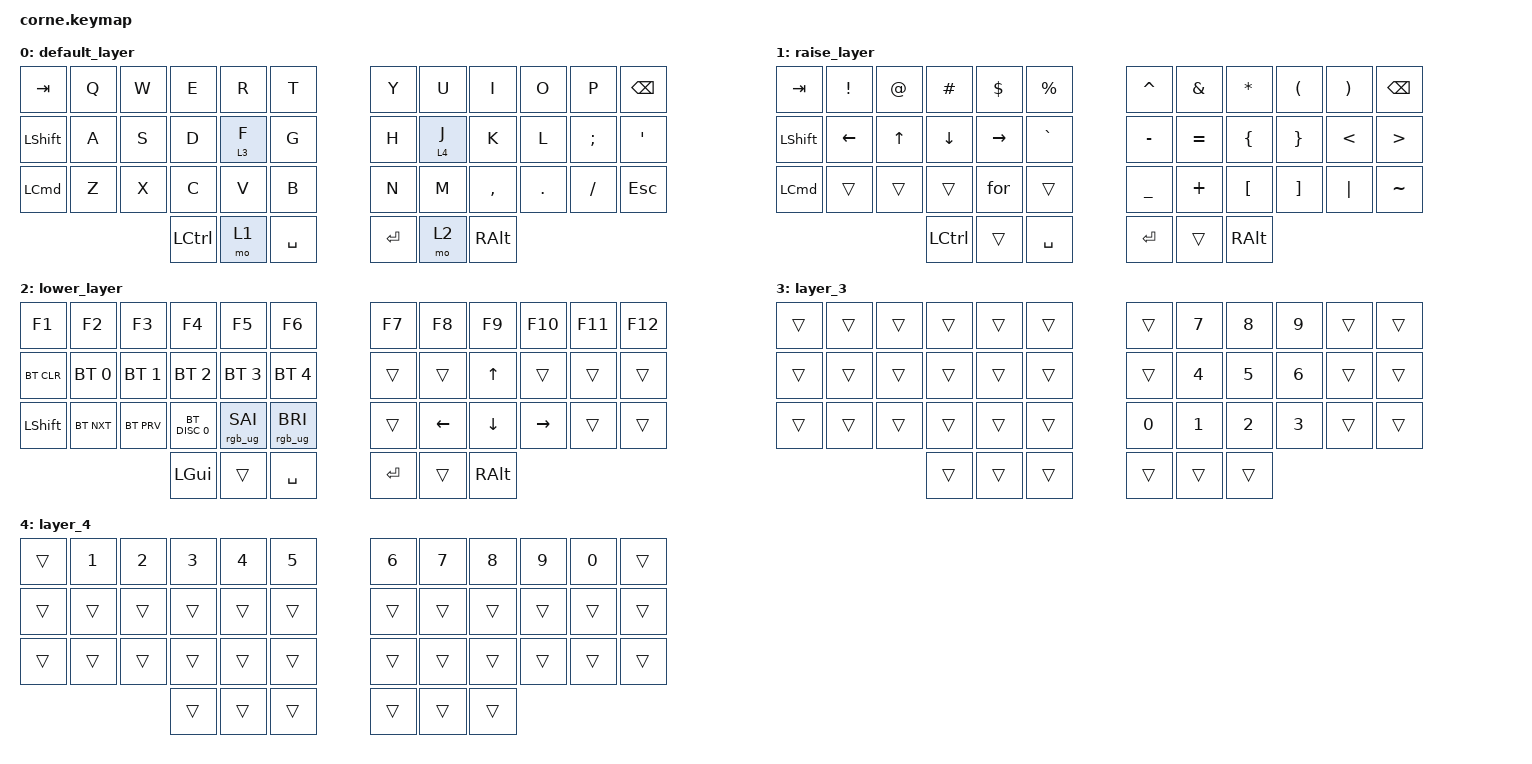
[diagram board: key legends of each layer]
/*
 * Copyright (c) 2020 The ZMK Contributors
 *
 * SPDX-License-Identifier: MIT
 */

#include <behaviors.dtsi>
#include <dt-bindings/zmk/bt.h>
#include <dt-bindings/zmk/keys.h>
#include <dt-bindings/zmk/rgb.h>

/ {
    macros {
        for: new_macro {
            compatible = "zmk,behavior-macro";
            #binding-cells = <0>;
            bindings = <&none &kp F &kp O &kp R &kp SPACE &kp LPAR &kp RPAR &kp SPACE &kp LEFT_BRACE &kp RET &kp SPACE &kp SPACE &kp SPACE &kp SPACE &kp RET &kp RBRC>;
            label = "NEW_MACRO";
        };
    };

    keymap {
        compatible = "zmk,keymap";

        default_layer {
            // -----------------------------------------------------------------------------------------
            // |  TAB |  Q  |  W  |  E  |  R  |  T  |   |  Y  |  U   |  I  |  O  |  P  | BKSP |
            // | CTRL |  A  |  S  |  D  |  F  |  G  |   |  H  |  J   |  K  |  L  |  ;  |  '   |
            // | SHFT |  Z  |  X  |  C  |  V  |  B  |   |  N  |  M   |  ,  |  .  |  /  | ESC  |
            //                    | GUI | LWR | SPC |   | ENT | RSE  | ALT |

            bindings = <
&kp TAB           &kp Q  &kp W  &kp E             &kp R    &kp T        &kp Y    &kp U    &kp I      &kp O    &kp P     &kp BSPC
&kp LEFT_SHIFT    &kp A  &kp S  &kp D             &lt 3 F  &kp G        &kp H    &lt 4 J  &kp K      &kp L    &kp SEMI  &kp SQT
&kp LEFT_COMMAND  &kp Z  &kp X  &kp C             &kp V    &kp B        &kp N    &kp M    &kp COMMA  &kp DOT  &kp FSLH  &kp ESC
                                &kp LEFT_CONTROL  &mo 1    &kp SPACE    &kp RET  &mo 2    &kp RALT
            >;
        };

        raise_layer {
            // -----------------------------------------------------------------------------------------
            // |  TAB |  !  |  @  |  #  |  $  |  %  |   |  ^  |  &  |  *  |  (  |  )  | BKSP |
            // | CTRL |     |     |     |     |     |   |  -  |  =  |  [  |  ]  |  \  |  `   |
            // | SHFT |     |     |     |     |     |   |  _  |  +  |  {  |  }  | "|" |  ~   |
            //                    | GUI |     | SPC |   | ENT |     | ALT |

            bindings = <
&kp TAB           &kp EXCLAMATION  &kp AT_SIGN   &kp HASH          &kp DOLLAR       &kp PERCENT    &kp CARET  &kp AMPERSAND  &kp ASTERISK      &kp LEFT_PARENTHESIS  &kp RIGHT_PARENTHESIS  &kp BSPC
&kp LEFT_SHIFT    &kp LEFT         &kp UP_ARROW  &kp DOWN_ARROW    &kp RIGHT_ARROW  &kp GRAVE      &kp MINUS  &kp EQUAL      &kp LEFT_BRACE    &kp RIGHT_BRACE       &kp LESS_THAN          &kp GREATER_THAN
&kp LEFT_COMMAND  &trans           &trans        &trans            &for             &trans         &kp UNDER  &kp PLUS       &kp LEFT_BRACKET  &kp RIGHT_BRACKET     &kp PIPE               &kp TILDE
                                                 &kp LEFT_CONTROL  &trans           &kp SPACE      &kp RET    &trans         &kp RALT
            >;
        };

        lower_layer {
            // -----------------------------------------------------------------------------------------
            // |  TAB |  1  |  2  |  3  |  4  |  5  |   |  6  |  7  |  8  |  9  |  0  | BKSP |
            // | BTCLR| BT1 | BT2 | BT3 | BT4 | BT5 |   | LFT | DWN |  UP | RGT |     |      |
            // | SHFT |     |     |     |     |     |   |     |     |     |     |     |      |
            //                    | GUI |     | SPC |   | ENT |     | ALT |

            bindings = <
&kp F1      &kp F2        &kp F3        &kp F4         &kp F5           &kp F6             &kp F7   &kp F8          &kp F9          &kp F10          &kp F11  &kp F12
&bt BT_CLR  &bt BT_SEL 0  &bt BT_SEL 1  &bt BT_SEL 2   &bt BT_SEL 3     &bt BT_SEL 4       &trans   &trans          &kp UP          &trans           &trans   &trans
&kp LSHFT   &bt BT_NXT    &bt BT_PRV    &bt BT_DISC 0  &rgb_ug RGB_SAI  &rgb_ug RGB_BRI    &trans   &kp LEFT_ARROW  &kp DOWN_ARROW  &kp RIGHT_ARROW  &trans   &trans
                                        &kp LGUI       &trans           &kp SPACE          &kp RET  &trans          &kp RALT
            >;
        };

        layer_3 {
            bindings = <
&trans  &trans  &trans  &trans  &trans  &trans    &trans  &kp N7        &kp N8        &kp N9        &trans  &trans
&trans  &trans  &trans  &trans  &trans  &trans    &trans  &kp NUMBER_4  &kp N5        &kp NUMBER_6  &trans  &trans
&trans  &trans  &trans  &trans  &trans  &trans    &kp N0  &kp NUMBER_1  &kp NUMBER_2  &kp NUMBER_3  &trans  &trans
                        &trans  &trans  &trans    &trans  &trans        &trans
            >;
        };

        layer_4 {
            bindings = <
&trans  &kp NUMBER_1  &kp NUMBER_2  &kp NUMBER_3  &kp NUMBER_4  &kp N5    &kp NUMBER_6  &kp N7  &kp N8  &kp N9  &kp N0  &trans
&trans  &trans        &trans        &trans        &trans        &trans    &trans        &trans  &trans  &trans  &trans  &trans
&trans  &trans        &trans        &trans        &trans        &trans    &trans        &trans  &trans  &trans  &trans  &trans
                                    &trans        &trans        &trans    &trans        &trans  &trans
            >;
        };
    };
};
